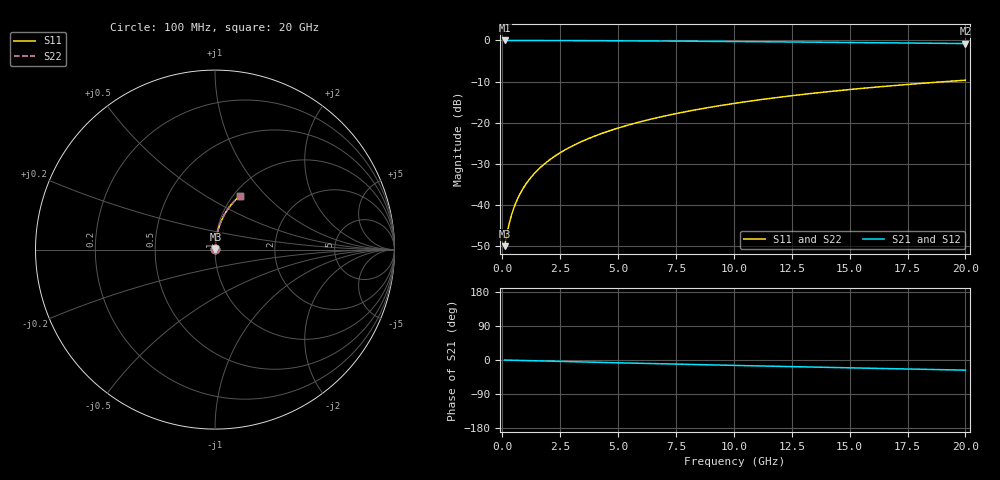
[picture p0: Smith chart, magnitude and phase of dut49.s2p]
! Touchstone file exported from HFSS 2024.1.0
!  File:  C:/UserFiles/LocalFiles/RDL_TSV_Batchsim/temp_RDL_top_49_1778681267.aedt
!  Generated:  10:10:08 PM May 13, 2026
!  Design:  RDL_top
!  Project:  temp_RDL_top_49_1778681267
!  Setup:  Setup1
!  Solution:  Sweep
! Variables:
!  dtsv = 10.80580581um
!  hbump = 3um
!  htsv = 60.55um
!  ldown = 100um
!  lrdl = 322.58um
!  p = 40
!  p1 = 45.45um
!  rhole = 1um
!  t = 450um
!  tdown = 3.915915916um
!  trdl = 3.83um
!  wdown = 15.38538539um
!  wrdl = 11.94um
# GHz S MA R 50.000000
! Terminal data exported
! Port[1] = Box2_T1
! Port[2] = Box2_T2
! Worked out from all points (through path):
!   200 points, 100 MHz to 20 GHz, reference 50 ohm
!   highest |S21| = -0.02 dB at 100 MHz (marker M1); lowest = -0.8 dB at 20 GHz (marker M2)
!   group delay of S21, straight-line fit = 3.71 ps
!   lowest |S11| = -50.0 dB at 100 MHz (marker M3), VSWR 1.01, Z = 50.3 + j0.179 ohm
!   |S11| at or under -10 dB: start of sweep to 19.19 GHz
!   |S22| runs from -50.0 to -9.7 dB; largest |S21 - S12| = 3.6e-15
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0.1  0.003156 34.4  0.9974 -0.2  0.9974 -0.2  0.003156 34.4
! Gamma 0 0 0 0
! Port Impedance 50 0 50 0
0.2  0.004431 53.3  0.9973 -0.3  0.9973 -0.3  0.004431 53.3
0.3  0.005958 63.0  0.9973 -0.5  0.9973 -0.5  0.005958 63.0
0.4  0.007573 68.5  0.9972 -0.6  0.9972 -0.6  0.007573 68.5
0.5  0.009221 72.0  0.9971 -0.8  0.9971 -0.8  0.009221 72.0
0.6  0.01088 74.4  0.9971 -0.9  0.9971 -0.9  0.01088 74.4
0.8  0.01423 77.5  0.9969 -1.2  0.9969 -1.2  0.01423 77.5
1.1  0.01929 80.0  0.9966 -1.7  0.9966 -1.7  0.01929 80.0
1.5  0.02607 81.8  0.9962 -2.2  0.9962 -2.2  0.02607 81.8
1.8  0.03118 82.5  0.9958 -2.7  0.9958 -2.7  0.03118 82.5
2.1  0.0363 82.9  0.9954 -3.1  0.9954 -3.1  0.0363 82.9
2.7  0.04656 83.2  0.9943 -4.0  0.9943 -4.0  0.04656 83.3
3.5  0.06026 83.2  0.9926 -5.2  0.9926 -5.2  0.06026 83.2
4.2  0.07227 82.8  0.9908 -6.2  0.9908 -6.2  0.07227 82.8
5  0.08599 82.3  0.9884 -7.4  0.9884 -7.4  0.08599 82.3
5.9  0.1014 81.5  0.9853 -8.6  0.9853 -8.6  0.1014 81.5
6.8  0.1168 80.6  0.982 -9.9  0.982 -9.9  0.1168 80.6
8.3  0.1424 79.0  0.9759 -12.0  0.9759 -12.0  0.1424 79.1
10.1  0.1728 77.0  0.9678 -14.4  0.9678 -14.4  0.1728 77.0
13.4  0.2272 73.1  0.9514 -18.7  0.9514 -18.7  0.2272 73.1
16.7  0.2791 69.1  0.9334 -22.8  0.9334 -22.8  0.2791 69.1
20  0.328 65.2  0.9142 -26.7  0.9142 -26.7  0.328 65.2
